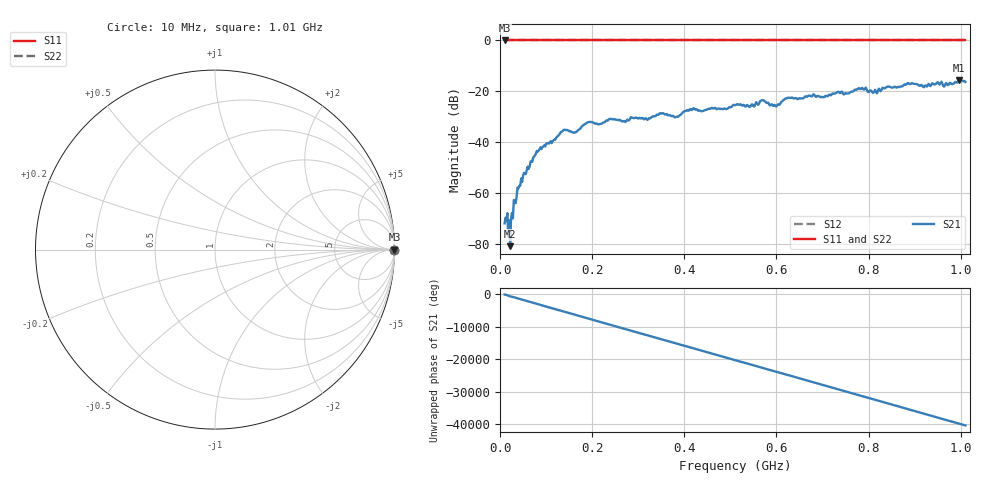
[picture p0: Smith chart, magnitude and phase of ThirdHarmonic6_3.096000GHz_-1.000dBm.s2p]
! 8/17/2025 9:07:17 AM
! C:\ANRITSUVNA\TEMP\TEMP.S2P
! CHANNEL.1
! TR.MEASUREMENT
! RAW.DATA
! RF.CORRECTION.OFF
! AVERAGING.OFF
! IF.BANDWIDTH: 5KHZ
! SWEEPTYPE:  FREQ.SWEEP(Linear)
! Reference Plane Port Info
! PORT:  PORT1  PORT2
! DISTANCE:  0  m  0  m
! TIME:  0  s  0  s
! PHASE.OFFSET:  0  deg.  0  deg.
! LOSS:  0  dB  0  dB
! REF.LOSS:  0  dB  0  dB
! REF.FREQ:  0  Hz  0  Hz
! Power Info
! POWER:  -20  dBm  -20  dBm
! EFF.POWER:  -20  dBm  -20  dBm
! SOURCE.ATTEN:  0  dB  0  dB
! TEST.ATTEN:  0  dB  0  dB
# GHZ S RI R 50.0
! FREQ.GHZ  S11RE  S11IM  S21RE  S21IM  S12RE  S12IM  S22RE  S22IM
!; PortSelection: Port_12
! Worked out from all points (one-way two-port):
!   501 points, 10 MHz to 1.01 GHz, reference 50 ohm
!   highest |S21| = -15.51 dB at 996 MHz (marker M1); lowest = -80.7 dB at 22 MHz (marker M2)
!   lowest |S11| = 0.0 dB at 10 MHz (marker M3)
!   |S11| at or under -10 dB: nowhere
!   |S22| runs from 0.0 to 0.0 dB; largest |S21 - S12| = 1.2
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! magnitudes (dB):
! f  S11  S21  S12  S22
! 10 MHz  0.0  -71.8  0.0  0.0
! 22 MHz  0.0  -80.7  0.0  0.0
! 34 MHz  0.0  -63.9  0.0  0.0
! 42 MHz  0.0  -57.0  0.0  0.0
! 76 MHz  0.0  -45.1  0.0  0.0
! 136 MHz  0.0  -35.5  0.0  0.0
! 162 MHz  0.0  -36.2  0.0  0.0
! 178 MHz  0.0  -33.7  0.0  0.0
! 344 MHz  0.0  -29.1  0.0  0.0
! 382 MHz  0.0  -30.0  0.0  0.0
! 416 MHz  0.0  -27.3  0.0  0.0
! 510 MHz  0.0  -25.4  0.0  0.0
! 548 MHz  0.0  -25.1  0.0  0.0
! 570 MHz  0.0  -23.4  0.0  0.0
! 596 MHz  0.0  -25.3  0.0  0.0
! 624 MHz  0.0  -22.5  0.0  0.0
! 678 MHz  0.0  -21.7  0.0  0.0
! 782 MHz  0.0  -19.1  0.0  0.0
! 814 MHz  0.0  -19.4  0.0  0.0
! 844 MHz  0.0  -18.1  0.0  0.0
! 996 MHz  0.0  -15.5  0.0  0.0
! 1.01 GHz  0.0  -16.3  0.0  0.0
